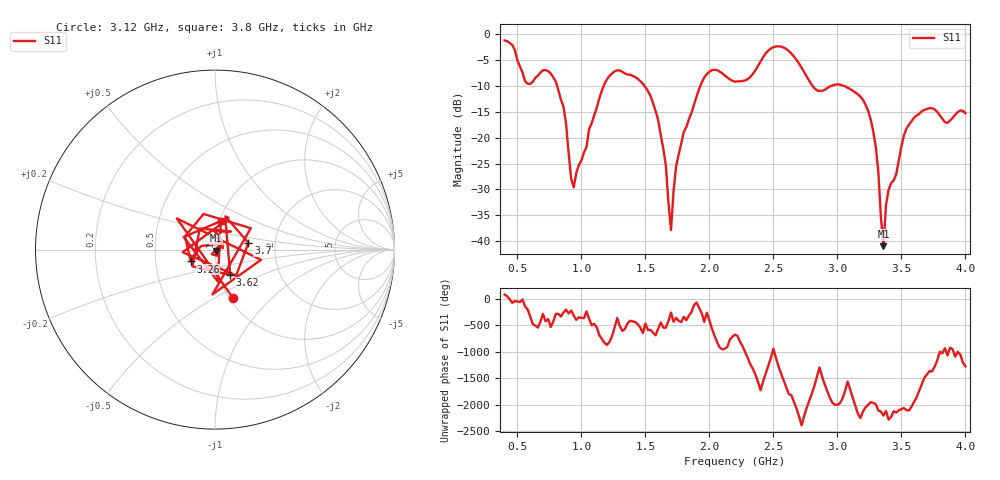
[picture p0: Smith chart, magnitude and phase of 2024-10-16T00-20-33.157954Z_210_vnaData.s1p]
! Created with skrf (http://scikit-rf.org).
# Hz S RI R 50.0
!freq ReS11 ImS11
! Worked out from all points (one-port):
!   181 points, 400 MHz to 4 GHz, reference 50 ohm
!   lowest |S11| = -41.0 dB at 3.36 GHz (marker M1), VSWR 1.02, Z = 50.6 - j0.657 ohm
!   |S11| at or under -10 dB: 810.5 MHz to 1.174 GHz (363.3 MHz wide, 36.6 % of centre); 1.494 GHz to 1.929 GHz (435.3 MHz wide, 25.4 % of centre); 3.054 GHz to end of sweep (the widest 3 of 4)
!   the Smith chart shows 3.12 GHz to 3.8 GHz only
!   S11 on the Smith chart (normalised r, x): 3.12 GHz: 1.04, -0.61; 3.26 GHz: 0.76, -0.10; 3.62 GHz: 1.14, -0.33; 3.7 GHz: 1.45, +0.11; 3.8 GHz: 1.01, +0.34
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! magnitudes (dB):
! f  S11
! 400 MHz  -1.2
! 580 MHz  -9.6
! 760 MHz  -7.5
! 860 MHz  -14.0
! 940 MHz  -29.6
! 1.18 GHz  -9.6
! 1.3 GHz  -7.0
! 1.58 GHz  -14.8
! 1.66 GHz  -25.5
! 1.7 GHz  -37.9
! 1.72 GHz  -30.3
! 1.76 GHz  -23.2
! 1.96 GHz  -8.3
! 2.2 GHz  -9.2
! 2.5 GHz  -2.5
! 2.66 GHz  -4.3
! 2.84 GHz  -10.8
! 3.1 GHz  -10.6
! 3.12 GHz  -10.9
! 3.26 GHz  -16.5
! 3.32 GHz  -26.6
! 3.36 GHz  -41.0
! 3.4 GHz  -30.1
! 3.56 GHz  -17.4
! 3.62 GHz  -15.7
! 3.7 GHz  -14.4
! 3.8 GHz  -15.6
! 4 GHz  -15.3
